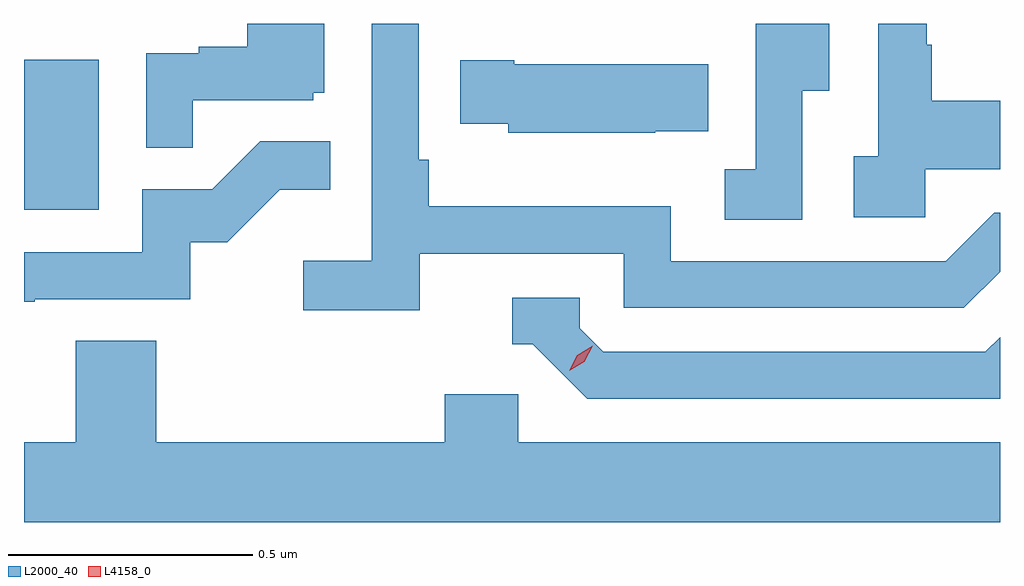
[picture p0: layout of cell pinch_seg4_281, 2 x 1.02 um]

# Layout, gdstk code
import gdstk
lib = gdstk.Library(unit=1e-6, precision=1e-09)
def R(c, l, rs):  # rectangles x0, y0, x1, y1
    for r in rs: c.add(gdstk.rectangle(r[:2], r[2:], *l))
def P(c, l, *ps):  # polygons
    for p in ps: c.add(gdstk.Polygon(p, *l))
L2000_40 = (2000, 40)
L4158_0 = (4158, 0)

pinch_seg4_281 = lib.new_cell('pinch_seg4_281')
R(pinch_seg4_281, L2000_40, [(939.445,818.772,939.598,819.079)])
P(pinch_seg4_281, L2000_40, [(941.292,818.855),(941.445,818.855),(941.445,818.995),(941.305,818.995),(941.305,819.11),(941.295,819.11),(941.295,819.153),(941.196,819.153),(941.196,818.882),(941.145,818.882),(941.145,818.757),(941.292,818.757)],
  [(940.256,818.682),(940.674,818.682),(940.674,818.571),(941.371,818.571),(941.445,818.645),(941.445,818.766),(941.433,818.766),(941.334,818.667),(940.77,818.667),(940.77,818.779),(940.274,818.779),(940.274,818.875),(940.254,818.875),(940.254,819.153),(940.158,819.153),(940.158,818.668),(940.017,818.668),(940.017,818.566),(940.256,818.566)],
  [(939.791,818.997),(940.038,818.997),(940.038,819.012),(940.06,819.012),(940.06,819.153),(939.902,819.153),(939.902,819.106),(939.803,819.106),(939.803,819.093),(939.696,819.093),(939.696,818.899),(939.791,818.899)],
  [(941.04,819.016),(941.095,819.016),(941.095,819.153),(940.944,819.153),(940.944,818.855),(940.881,818.855),(940.881,818.752),(941.04,818.752)],
  [(940.739,818.933),(940.847,818.933),(940.847,819.07),(940.45,819.07),(940.45,819.078),(940.339,819.078),(940.339,818.948),(940.437,818.948),(940.437,818.93),(940.739,818.93)],
  [(939.467,818.589),(939.786,818.589),(939.786,818.706),(939.862,818.706),(939.969,818.813),(940.073,818.813),(940.073,818.912),(939.929,818.912),(939.831,818.814),(939.687,818.814),(939.687,818.685),(939.445,818.685),(939.445,818.584),(939.467,818.584)],
  [(941.445,818.511),(941.415,818.481),(940.632,818.481),(940.584,818.529),(940.584,818.592),(940.445,818.592),(940.445,818.496),(940.488,818.496),(940.599,818.385),(941.445,818.385)],
  [(941.445,818.296),(940.458,818.296),(940.458,818.394),(940.307,818.394),(940.307,818.296),(939.716,818.296),(939.716,818.504),(939.551,818.504),(939.551,818.296),(939.445,818.296),(939.445,818.132),(941.445,818.132)])
P(pinch_seg4_281, L4158_0, [(940.562,818.442),(940.562,818.442),(940.579,818.474),(940.61,818.493),(940.61,818.493),(940.61,818.493),(940.593,818.461),(940.562,818.442)])

lib.write_gds('pinch_seg4_281.gds')
